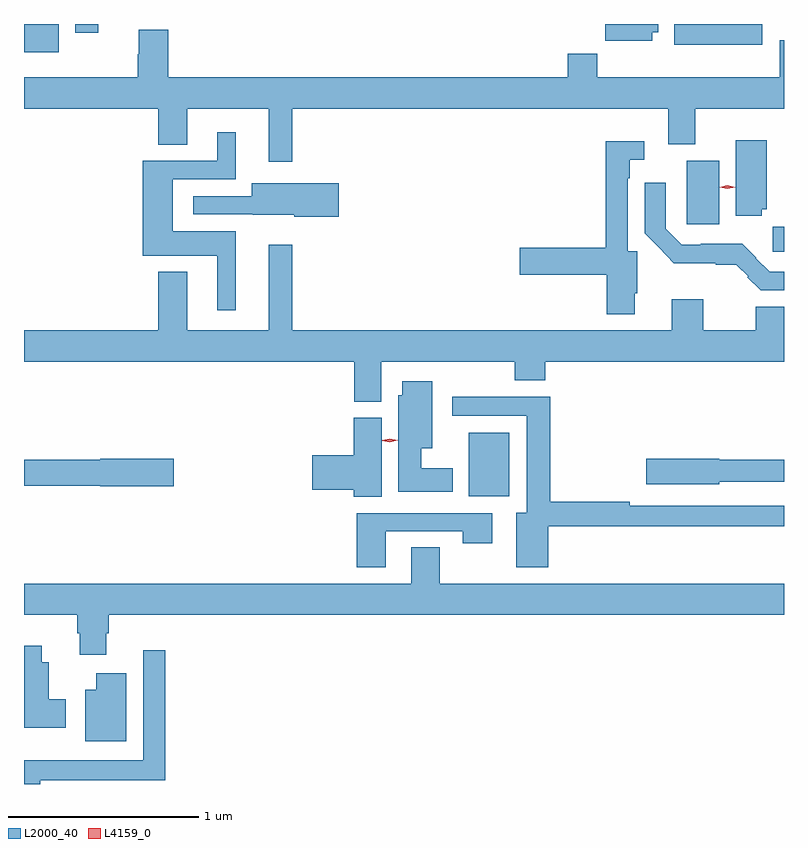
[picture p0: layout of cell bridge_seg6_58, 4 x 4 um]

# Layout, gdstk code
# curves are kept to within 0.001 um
import gdstk
lib = gdstk.Library(unit=1e-6, precision=1e-09)
def R(c, l, rs):  # rectangles x0, y0, x1, y1
    for r in rs: c.add(gdstk.rectangle(r[:2], r[2:], *l))
def P(c, l, *ps):  # polygons
    for p in ps: c.add(gdstk.Polygon(p, *l))
L2000_40 = (2000, 40)
L4159_0 = (4159, 0)

bridge_seg6_58 = lib.new_cell('bridge_seg6_58')
R(bridge_seg6_58, L2000_40, [(659.462,969.272,659.674,969.607), (661.062,970.558,661.12,970.691), (660.608,970.704,660.778,971.038), (657.12,971.609,657.304,971.757), (660.542,971.648,661.006,971.757), (657.389,971.712,657.511,971.757)])
P(bridge_seg6_58, L2000_40, [(660.427,971.714),(660.457,971.714),(660.457,971.757),(660.178,971.757),(660.178,971.67),(660.427,971.67)],
  [(658.531,971.312),(660.512,971.312),(660.512,971.123),(660.652,971.123),(660.652,971.312),(661.12,971.312),(661.12,971.671),(661.097,971.671),(661.097,971.476),(660.137,971.476),(660.137,971.6),(659.981,971.6),(659.981,971.476),(657.878,971.476),(657.878,971.728),(657.725,971.728),(657.725,971.597),(657.718,971.597),(657.718,971.476),(657.12,971.476),(657.12,971.312),(657.827,971.312),(657.827,971.122),(657.979,971.122),(657.979,971.312),(658.409,971.312),(658.409,971.031),(658.531,971.031)],
  [(658.234,970.666),(657.904,970.666),(657.904,970.941),(658.234,970.941),(658.234,971.188),(658.136,971.188),(658.136,971.037),(657.746,971.037),(657.746,970.538),(658.136,970.538),(658.136,970.251),(658.234,970.251)],
  [(661.003,970.782),(661.03,970.782),(661.03,971.146),(660.866,971.146),(660.866,970.748),(661.003,970.748)],
  [(660.334,970.339),(660.347,970.339),(660.347,970.56),(660.297,970.56),(660.297,970.946),(660.309,970.946),(660.309,971.043),(660.385,971.043),(660.385,971.14),(660.181,971.14),(660.181,970.58),(659.73,970.58),(659.73,970.438),(660.188,970.438),(660.188,970.229),(660.334,970.229)],
  [(661.12,970.452),(661.044,970.452),(660.972,970.524),(660.975,970.527),(660.901,970.601),(660.682,970.601),(660.682,970.596),(660.582,970.596),(660.498,970.68),(660.498,970.921),(660.386,970.921),(660.386,970.656),(660.541,970.499),(660.761,970.499),(660.761,970.491),(660.869,970.491),(660.931,970.429),(660.927,970.425),(660.997,970.355),(661.12,970.355)],
  [(658.777,970.92),(658.319,970.92),(658.319,970.851),(658.011,970.851),(658.011,970.755),(658.323,970.755),(658.323,970.754),(658.542,970.754),(658.542,970.742),(658.777,970.742)],
  [(658.999,969.98),(659.704,969.98),(659.704,969.881),(659.864,969.881),(659.864,969.98),(661.12,969.98),(661.12,970.27),(660.971,970.27),(660.971,970.144),(660.694,970.144),(660.694,970.309),(660.53,970.309),(660.53,970.144),(658.531,970.144),(658.531,970.594),(658.409,970.594),(658.409,970.144),(657.979,970.144),(657.979,970.453),(657.827,970.453),(657.827,970.144),(657.12,970.144),(657.12,969.98),(658.859,969.98),(658.859,969.769),(658.999,969.769)],
  [(659.377,969.418),(659.212,969.418),(659.212,969.524),(659.269,969.524),(659.269,969.877),(659.111,969.877),(659.111,969.804),(659.09,969.804),(659.09,969.296),(659.377,969.296)],
  [(659.878,969.114),(661.12,969.114),(661.12,969.222),(660.308,969.222),(660.308,969.242),(659.891,969.242),(659.891,969.794),(659.373,969.794),(659.373,969.696),(659.765,969.696),(659.765,969.184),(659.711,969.184),(659.711,968.898),(659.878,968.898)],
  [(659.002,969.684),(658.856,969.684),(658.856,969.488),(658.638,969.488),(658.638,969.305),(658.856,969.305),(658.856,969.268),(659.002,969.268)],
  [(657.907,969.47),(657.522,969.47),(657.522,969.464),(657.12,969.464),(657.12,969.328),(657.522,969.328),(657.522,969.323),(657.907,969.323)],
  [(660.78,969.348),(661.12,969.348),(661.12,969.464),(660.78,969.464),(660.78,969.47),(660.396,969.47),(660.396,969.335),(660.78,969.335)],
  [(659.023,969.087),(659.428,969.087),(659.428,969.024),(659.584,969.024),(659.584,969.183),(658.871,969.183),(658.871,968.898),(659.023,968.898)],
  [(657.553,968.55),(657.566,968.55),(657.566,968.648),(661.12,968.648),(661.12,968.812),(659.307,968.812),(659.307,969.002),(659.159,969.002),(659.159,968.812),(657.12,968.812),(657.12,968.648),(657.401,968.648),(657.401,968.55),(657.413,968.55),(657.413,968.436),(657.553,968.436)],
  [(657.34,968.202),(657.25,968.202),(657.25,968.398),(657.214,968.398),(657.214,968.485),(657.12,968.485),(657.12,968.054),(657.34,968.054)],
  [(657.206,967.778),(657.74,967.778),(657.74,967.776),(657.863,967.776),(657.863,968.461),(657.747,968.461),(657.747,967.882),(657.12,967.882),(657.12,967.757),(657.206,967.757)],
  [(657.658,968.341),(657.5,968.341),(657.5,968.254),(657.443,968.254),(657.443,967.982),(657.658,967.982)])
P(bridge_seg6_58, L4159_0, [(659.046,969.555),(659.005,969.564),(659.005,969.565),(659.005,969.565),(659.046,969.575),(659.087,969.567),(659.087,969.566),(659.087,969.566)],
  [(660.822,970.889),(660.781,970.898),(660.781,970.898),(660.781,970.898),(660.822,970.908),(660.863,970.899),(660.863,970.899),(660.863,970.899)])

lib.write_gds('bridge_seg6_58.gds')
